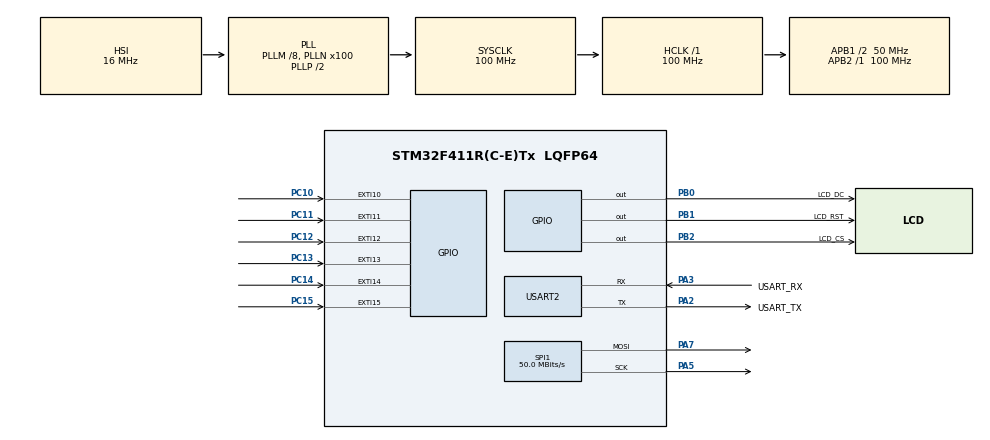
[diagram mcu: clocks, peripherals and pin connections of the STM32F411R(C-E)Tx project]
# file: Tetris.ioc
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Dma.Request0=SPI1_TX
Dma.SPI1_TX.0.Direction=DMA_MEMORY_TO_PERIPH
Dma.SPI1_TX.0.FIFOMode=DMA_FIFOMODE_DISABLE
Dma.SPI1_TX.0.Instance=DMA2_Stream2
Dma.SPI1_TX.0.MemDataAlignment=DMA_MDATAALIGN_BYTE
Dma.SPI1_TX.0.MemInc=DMA_MINC_ENABLE
Dma.SPI1_TX.0.Mode=DMA_NORMAL
Dma.SPI1_TX.0.PeriphDataAlignment=DMA_PDATAALIGN_BYTE
Dma.SPI1_TX.0.PeriphInc=DMA_PINC_DISABLE
Dma.SPI1_TX.0.Priority=DMA_PRIORITY_LOW
Mcu.Family=STM32F4
Mcu.Name=STM32F411R(C-E)Tx
Mcu.Package=LQFP64
NVIC.DMA2_Stream2_IRQn=true\:0\:0\:false\:false\:true\:false\:true\:true
NVIC.EXTI15_10_IRQn=true\:0\:0\:false\:false\:true\:true\:true\:true
NVIC.PriorityGroup=NVIC_PRIORITYGROUP_0
NVIC.TIM1_UP_TIM10_IRQn=true\:0\:5\:true\:false\:true\:true\:true\:true
PA13.GPIO_Label=TMS
PA13.Mode=Serial_Wire
PA13.Signal=SYS_JTMS-SWDIO
PA14.GPIO_Label=TCK
PA14.Mode=Serial_Wire
PA14.Signal=SYS_JTCK-SWCLK
PA2.GPIO_Label=USART_TX
PA2.Mode=Asynchronous
PA2.Signal=USART2_TX
PA3.GPIO_Label=USART_RX
PA3.Mode=Asynchronous
PA3.Signal=USART2_RX
PA5.Mode=TX_Only_Simplex_Unidirect_Master
PA5.Signal=SPI1_SCK
PA7.Mode=TX_Only_Simplex_Unidirect_Master
PA7.Signal=SPI1_MOSI
PB0.GPIO_Label=LCD_DC
PB0.GPIO_PuPd=GPIO_PULLUP
PB0.GPIO_Speed=GPIO_SPEED_FREQ_VERY_HIGH
PB0.PinState=GPIO_PIN_SET
PB0.Signal=GPIO_Output
PB1.GPIO_Label=LCD_RST
PB1.GPIO_PuPd=GPIO_PULLUP
PB1.GPIO_Speed=GPIO_SPEED_FREQ_VERY_HIGH
PB1.PinState=GPIO_PIN_SET
PB1.Signal=GPIO_Output
PB2.GPIO_Label=LCD_CS
PB2.GPIO_PuPd=GPIO_PULLUP
PB2.GPIO_Speed=GPIO_SPEED_FREQ_VERY_HIGH
PB2.PinState=GPIO_PIN_SET
PB2.Signal=GPIO_Output
PC10.GPIO_ModeDefaultEXTI=GPIO_MODE_IT_RISING_FALLING
PC10.Signal=GPXTI10
PC11.GPIO_ModeDefaultEXTI=GPIO_MODE_IT_RISING_FALLING
PC11.Signal=GPXTI11
PC12.GPIO_ModeDefaultEXTI=GPIO_MODE_IT_RISING_FALLING
PC12.Signal=GPXTI12
PC13-ANTI_TAMP.GPIO_ModeDefaultEXTI=GPIO_MODE_IT_RISING_FALLING
PC13-ANTI_TAMP.Signal=GPXTI13
PC14-OSC32_IN.GPIO_ModeDefaultEXTI=GPIO_MODE_IT_RISING_FALLING
PC14-OSC32_IN.Signal=GPXTI14
PC15-OSC32_OUT.GPIO_ModeDefaultEXTI=GPIO_MODE_IT_RISING_FALLING
PC15-OSC32_OUT.Signal=GPXTI15
PH0\ -\ OSC_IN.Mode=HSE-External-Clock-Source
PH0\ -\ OSC_IN.Signal=RCC_OSC_IN
PH1\ -\ OSC_OUT.Mode=HSE-External-Clock-Source
PH1\ -\ OSC_OUT.Signal=RCC_OSC_OUT
ProjectManager.HeapSize=0x200
ProjectManager.StackSize=0x400
ProjectManager.TargetToolchain=STM32CubeIDE
RCC.48MHZClocksFreq_Value=50000000
RCC.AHBFreq_Value=100000000
RCC.APB1CLKDivider=RCC_HCLK_DIV2
RCC.APB1Freq_Value=50000000
RCC.APB1TimFreq_Value=100000000
RCC.APB2Freq_Value=100000000
RCC.APB2TimFreq_Value=100000000
RCC.CortexFreq_Value=100000000
RCC.FLatency-AdvancedSettings=FLASH_LATENCY_3
RCC.HCLKFreq_Value=100000000
RCC.HSE_VALUE=8000000
RCC.HSI_VALUE=16000000
RCC.LSE_VALUE=32768
RCC.PLLM=8
RCC.PLLN=100
RCC.SYSCLKFreq_VALUE=100000000
RCC.SYSCLKSource=RCC_SYSCLKSOURCE_PLLCLK
RCC.VCOOutputFreq_Value=200000000
SPI1.CalculateBaudRate=50.0 MBits/s
SPI1.Direction=SPI_DIRECTION_2LINES
SPI1.Mode=SPI_MODE_MASTER
SPI1.VirtualType=VM_MASTER
TIM1.Period=99
TIM1.Prescaler=9999
USART2.VirtualMode=VM_ASYNC
VP_TIM1_VS_ClockSourceINT.Mode=Internal
board=NUCLEO-F411RE

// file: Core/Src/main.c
/* USER CODE BEGIN Header */
/**
  ******************************************************************************
  * @file           : main.c
  * @brief          : Main program body
  ******************************************************************************
  * @attention
  *
  * Copyright (c) 2025 STMicroelectronics.
  * All rights reserved.
  *
  * This software is licensed under terms that can be found in the LICENSE file
  * in the root directory of this software component.
  * If no LICENSE file comes with this software, it is provided AS-IS.
  *
  ******************************************************************************
  */
/* USER CODE END Header */
#include "main.h"

/* USER CODE BEGIN Includes */
#include "lcd.h"
/* USER CODE END Includes */

/* USER CODE BEGIN PD */
#define RAW_UP     (HAL_GPIO_ReadPin(GPIOC, GPIO_PIN_10) == GPIO_PIN_SET)
#define RAW_DOWN   (HAL_GPIO_ReadPin(GPIOC, GPIO_PIN_11) == GPIO_PIN_SET)
#define RAW_LEFT   (HAL_GPIO_ReadPin(GPIOC, GPIO_PIN_12) == GPIO_PIN_SET)
#define RAW_RIGHT  (HAL_GPIO_ReadPin(GPIOC, GPIO_PIN_13) == GPIO_PIN_SET)
#define RAW_A      (HAL_GPIO_ReadPin(GPIOC, GPIO_PIN_14) == GPIO_PIN_SET)
#define RAW_B      (HAL_GPIO_ReadPin(GPIOC, GPIO_PIN_15) == GPIO_PIN_SET)

#define DEBOUNCE_MS 20

#define BLOCK_SIZE   12
#define BOARD_COLS   10
#define BOARD_ROWS   20
#define BORDER 2

#define BOARD_WIDTH  (BLOCK_SIZE * BOARD_COLS)   // 120
#define BOARD_HEIGHT (BLOCK_SIZE * BOARD_ROWS)   // 240

#define BOARD_X      20    // left margin
#define BOARD_Y      40    // top margin

//TETRIS MENU TEXT
#define LOGO_BLOCK 6
#define LETTER_W 5
#define LETTER_H 5

#define COLOR_TEXT   0xFFFF   // white
#define COLOR_BG     0x0000   // black
#define COLOR_GRID   0x7BEF   // gray
#define COLOR_BORDER 0xFFFF   // white

#define GRAVITY_MS     800  // normal fall
#define SOFTDROP_MS    50   // soft drop speed
#define DAS_DELAY_MS  170   // initial delay
#define ARR_MS         40   // repeat speed
#define LOCK_DELAY_MS 500
#define LOCK_RESET_LIMIT   15

#define PREVIEW_X   (BOARD_X + BOARD_WIDTH + 12)
#define PREVIEW_Y   (BOARD_Y + 12)
#define PREVIEW_BLOCK  12
#define PREVIEW_BOARD_ROW   1
#define PREVIEW_BOARD_COL   (BOARD_COLS + 1)

#define UI_X   (BOARD_X + BOARD_WIDTH + 10)
#define UI_Y   (BOARD_Y + 80)
/* USER CODE END PD */

SPI_HandleTypeDef hspi1;
DMA_HandleTypeDef hdma_spi1_tx;

TIM_HandleTypeDef htim1;

UART_HandleTypeDef huart2;

/* USER CODE BEGIN PV */
typedef struct {
    uint8_t state;        // debounced state (0/1)
    uint8_t pressed;       // 0->1
    uint8_t released;      // 1->0
    uint32_t last_change_ms;
} Button_t;
Button_t btn_up, btn_down, btn_left, btn_right, btn_a, btn_b;
volatile uint8_t btn_changed;

typedef enum {
    STATE_MENU,
    STATE_PLAY,
    STATE_GAMEOVER
} GameState;

GameState gameState = STATE_MENU;

uint8_t menuLevel = 0;
uint8_t uiDrawn = 0;

typedef enum {
    PIECE_I = 0,
    PIECE_O,
    PIECE_T,
    PIECE_S,
    PIECE_Z,
    PIECE_J,
    PIECE_L,
    PIECE_COUNT
} TetrisPiece;

const uint16_t PIECE_COLOR[PIECE_COUNT] = {
	0x04FF, // I - soft cyan
	0xFD20, // O - warm yellow
	0xC81F, // T - purple
	0x05E0, // S - green
	0xF280, // Z - orange-red
	0x0016, // J - deep blue
	0xD800  // L - red
};

const uint8_t TETROMINO[PIECE_COUNT][4][4][4] =
{
/* ================= I ================= */
{
    {
        {0,0,0,0},
        {1,1,1,1},
        {0,0,0,0},
        {0,0,0,0}
    },
    {
        {0,0,1,0},
        {0,0,1,0},
        {0,0,1,0},
        {0,0,1,0}
    },
    {
        {0,0,0,0},
        {0,0,0,0},
        {1,1,1,1},
        {0,0,0,0}
    },
    {
        {0,1,0,0},
        {0,1,0,0},
        {0,1,0,0},
        {0,1,0,0}
    }
},

/* ================= O ================= */
{
    {
        {0,1,1,0},
        {0,1,1,0},
        {0,0,0,0},
        {0,0,0,0}
    },
    {
        {0,1,1,0},
        {0,1,1,0},
        {0,0,0,0},
        {0,0,0,0}
    },
    {
        {0,1,1,0},
        {0,1,1,0},
        {0,0,0,0},
        {0,0,0,0}
    },
    {
        {0,1,1,0},
        {0,1,1,0},
        {0,0,0,0},
        {0,0,0,0}
    }
},

/* ================= T ================= */
{
    {
        {0,1,0,0},
        {1,1,1,0},
        {0,0,0,0},
        {0,0,0,0}
    },
    {
        {0,1,0,0},
        {0,1,1,0},
        {0,1,0,0},
        {0,0,0,0}
    },
    {
        {0,0,0,0},
        {1,1,1,0},
        {0,1,0,0},
        {0,0,0,0}
    },
    {
        {0,1,0,0},
        {1,1,0,0},
        {0,1,0,0},
        {0,0,0,0}
    }
},

/* ================= S ================= */
{
    {
        {0,1,1,0},
        {1,1,0,0},
        {0,0,0,0},
        {0,0,0,0}
    },
    {
        {0,1,0,0},
        {0,1,1,0},
        {0,0,1,0},
        {0,0,0,0}
    },
    {
        {0,0,0,0},
        {0,1,1,0},
        {1,1,0,0},
        {0,0,0,0}
    },
    {
        {1,0,0,0},
        {1,1,0,0},
        {0,1,0,0},
        {0,0,0,0}
    }
},

/* ================= Z ================= */
{
    {
        {1,1,0,0},
        {0,1,1,0},
        {0,0,0,0},
        {0,0,0,0}
    },
    {
        {0,0,1,0},
        {0,1,1,0},
        {0,1,0,0},
        {0,0,0,0}
    },
    {
        {0,0,0,0},
        {1,1,0,0},
        {0,1,1,0},
        {0,0,0,0}
    },
    {
        {0,1,0,0},
        {1,1,0,0},
        {1,0,0,0},
        {0,0,0,0}
    }
},

/* ================= J ================= */
{
    {
        {1,0,0,0},
        {1,1,1,0},
        {0,0,0,0},
        {0,0,0,0}
    },
    {
        {0,1,1,0},
        {0,1,0,0},
        {0,1,0,0},
        {0,0,0,0}
    },
    {
        {0,0,0,0},
        {1,1,1,0},
        {0,0,1,0},
        {0,0,0,0}
    },
    {
        {0,1,0,0},
        {0,1,0,0},
        {1,1,0,0},
        {0,0,0,0}
    }
},

/* ================= L ================= */
{
    {
        {0,0,1,0},
        {1,1,1,0},
        {0,0,0,0},
        {0,0,0,0}
    },
    {
        {0,1,0,0},
        {0,1,0,0},
        {0,1,1,0},
        {0,0,0,0}
    },
    {
        {0,0,0,0},
        {1,1,1,0},
        {1,0,0,0},
        {0,0,0,0}
    },
    {
        {1,1,0,0},
        {0,1,0,0},
        {0,1,0,0},
        {0,0,0,0}
    }
}
};

const uint8_t TETRIS_FONT[][LETTER_H] = {
    // T
    {
        0b11111,
        0b00100,
        0b00100,
        0b00100,
        0b00100
    },
    // E
    {
        0b11111,
        0b10000,
        0b11110,
        0b10000,
        0b11111
    },
    // T
    {
        0b11111,
        0b00100,
        0b00100,
        0b00100,
        0b00100
    },
    // R
    {
        0b11110,
        0b10001,
        0b11110,
        0b10100,
        0b10010
    },
    // I
    {
        0b11111,
        0b00100,
        0b00100,
        0b00100,
        0b11111
    },
    // S
    {
        0b01111,
        0b10000,
        0b01110,
        0b00001,
        0b11110
    }
};

const uint8_t SPAWN_ROT[PIECE_COUNT] = {
    0, // I
    0, // O
    2, // T
    0, // S
    0, // Z
    2, // J
    2  // L
};

volatile uint32_t gameTick = 0;

typedef struct {
    int8_t row;
    int8_t col;
    uint8_t type;       // 0..PIECE_COUNT-1
    uint8_t rotation;   // 0..3
    uint16_t color;
} ActivePiece_t;
ActivePiece_t active;

uint16_t board[BOARD_ROWS][BOARD_COLS];

static uint32_t lockStart = 0;
static uint8_t  lockResets = 0;

uint8_t pieceBag[PIECE_COUNT];
uint8_t bagIndex = 0;
uint8_t nextPiece;

const uint16_t LINE_SCORE[5] = {
    0,      // 0
    100,    // 1
    300,    // 2
    500,    // 3
    800     // 4
};

uint32_t score = 0;
uint32_t softdrop_score = 0;
uint16_t level = 0;
uint16_t totalLines = 0;
uint32_t gravity_ms = 800;
uint32_t softdrop_ms = 50;

static uint32_t lastScore = 0xFFFFFFFF;
static uint16_t lastLines = 0xFFFF;
static uint16_t lastLevel = 0xFFFF;
/* USER CODE END PV */

void SystemClock_Config(void);
static void MX_GPIO_Init(void);
static void MX_DMA_Init(void);
static void MX_USART2_UART_Init(void);
static void MX_SPI1_Init(void);
static void MX_TIM1_Init(void);
/* USER CODE BEGIN PFP */
void DrawButtonTestUI(void);
uint8_t DebounceButton(Button_t *btn, uint8_t raw);
void UpdateButtons(void);
void UpdateButtonUI(void);

void StartGame();
void DrawLogoBlock(int x, int y, int size, uint16_t color);
void DrawTetrisLogo(int startX, int startY);
void DrawMenu(void);
void MenuInput(void);
void DrawGameOver(void);

void GameTick_Update(void);
void HandlePieceInput(void);

uint16_t ColorLight(uint16_t c);
uint16_t ColorDark(uint16_t c);
void DrawBlock(uint8_t row, uint8_t col, uint16_t color);
void DrawBlock3D(uint8_t row, uint8_t col, uint16_t color);
void ClearBlock(uint8_t row, uint8_t col);
void DrawBoard(void);
void DrawPiece(TetrisPiece piece, uint8_t rotation, int8_t boardRow,
		int8_t boardCol, uint16_t color);
void TestPieces(void);

int8_t GetSpawnOffsetY(uint8_t type, uint8_t rotation);
uint8_t SpawnPiece(void);
void DrawActivePiece(uint16_t color);
void ClearActivePiece(void);
void MoveLeft(void);
void MoveRight(void);
uint8_t MoveDown(void);
void RotatePieceCW(void);
void RotatePieceCCW(void);

uint8_t CheckCollision(int8_t row, int8_t col, uint8_t rotation);
uint8_t IsGrounded(void);
uint8_t IsGroundedAt(int8_t row, int8_t col, uint8_t rotation);
void LockPiece(void);
void ResetLockDelay(void);
void ClearLockDelay(void);

uint8_t ClearLines(void);
void RemoveLine(int row);
void RedrawBoardFromArray(void);

void ShuffleBag(void);
uint8_t GetNextPiece(void);
void DrawNextPiecePreview(void);

void AddScore(uint8_t lines);
void UpdateLevel(void);
void UpdateGravity(void);

void DrawHUD(void);
void UpdateHUD(void);
/* USER CODE END PFP */

int main(void)
{

  /* USER CODE BEGIN 1 */
	CoreDebug->DEMCR |= CoreDebug_DEMCR_TRCENA_Msk; // Enable DWT
	DWT->CYCCNT = 0;                                // Clear counter
	DWT->CTRL = DWT_CTRL_CYCCNTENA_Msk;             // Enable counter
  /* USER CODE END 1 */

  /* MCU Configuration--------------------------------------------------------*/

  /* Reset of all peripherals, Initializes the Flash interface and the Systick. */
  HAL_Init();

  /* Configure the system clock */
  SystemClock_Config();

  /* Initialize all configured peripherals */
  MX_GPIO_Init();
  MX_DMA_Init();
  MX_USART2_UART_Init();
  MX_SPI1_Init();
  MX_TIM1_Init();
  /* USER CODE BEGIN 2 */
//  HAL_TIM_Base_Start_IT(&htim1);

  LCD_init();

  memset(board, 0, sizeof(board));

  LCD_Fill(0, 0, LCD_WIDTH - 1, LCD_HEIGHT - 1, COLOR_BG);
//  DrawButtonTestUI();
	for (int r = 0; r < BOARD_ROWS; r++) {
		for (int c = 0; c < BOARD_COLS; c++) {
			board[r][c] = 0;
		}
	}

	ResetLockDelay();

	srand(HAL_GetTick());
	ShuffleBag();

	DrawBoard();
	nextPiece = GetNextPiece();
	SpawnPiece();
	DrawActivePiece(active.color);
  /* USER CODE END 2 */

  /* Infinite loop */
  /* USER CODE BEGIN WHILE */
  while (1)
  {
//	  LCD_Test();
//	  LCD_Fill(0, 0, LCD_WIDTH-1, LCD_HEIGHT-1, 0xF800); // RED
//	  HAL_Delay(800);
//
//	  LCD_Fill(0, 0, LCD_WIDTH-1, LCD_HEIGHT-1, 0x07E0); // GREEN
//	  HAL_Delay(800);
//
//	  LCD_Fill(0, 0, LCD_WIDTH-1, LCD_HEIGHT-1, 0x001F); // BLUE
//	  HAL_Delay(800);
//	  LCD_Fill(0, 0, 239, 319, COLOR_BG);
//	  TestPieces();
//		if (btn_changed) {
//			btn_changed = 0;
//			UpdateButtons();
//			UpdateButtonUI();
//		}
//	  GameTick_Update();

		switch (gameState) {

		case STATE_MENU:
			if (!uiDrawn) {
				DrawMenu();
				uiDrawn = 1;
			}
			MenuInput();
			UpdateButtons();
			if (btn_a.pressed) {
				StartGame();
				uiDrawn = 0;
				gameState = STATE_PLAY;
			}
			break;

		case STATE_PLAY:
			GameTick_Update();
			UpdateHUD();
			break;

		case STATE_GAMEOVER:
			if (!uiDrawn) {
				DrawGameOver();
				uiDrawn = 1;
			}
			UpdateButtons();
			if (btn_a.pressed) {
				uiDrawn = 0;
				gameState = STATE_MENU;
			}
			break;
		}
    /* USER CODE END WHILE */

  }
}

void SystemClock_Config(void)
{
  RCC_OscInitTypeDef RCC_OscInitStruct = {0};
  RCC_ClkInitTypeDef RCC_ClkInitStruct = {0};

  /** Configure the main internal regulator output voltage
  */
  __HAL_RCC_PWR_CLK_ENABLE();
  __HAL_PWR_VOLTAGESCALING_CONFIG(PWR_REGULATOR_VOLTAGE_SCALE1);

  /** Initializes the RCC Oscillators according to the specified parameters
  * in the RCC_OscInitTypeDef structure.
  */
  RCC_OscInitStruct.OscillatorType = RCC_OSCILLATORTYPE_HSI;
  RCC_OscInitStruct.HSIState = RCC_HSI_ON;
  RCC_OscInitStruct.HSICalibrationValue = RCC_HSICALIBRATION_DEFAULT;
  RCC_OscInitStruct.PLL.PLLState = RCC_PLL_ON;
  RCC_OscInitStruct.PLL.PLLSource = RCC_PLLSOURCE_HSI;
  RCC_OscInitStruct.PLL.PLLM = 8;
  RCC_OscInitStruct.PLL.PLLN = 100;
  RCC_OscInitStruct.PLL.PLLP = RCC_PLLP_DIV2;
  RCC_OscInitStruct.PLL.PLLQ = 4;
  if (HAL_RCC_OscConfig(&RCC_OscInitStruct) != HAL_OK)
  {
    Error_Handler();
  }

  /** Initializes the CPU, AHB and APB buses clocks
  */
  RCC_ClkInitStruct.ClockType = RCC_CLOCKTYPE_HCLK|RCC_CLOCKTYPE_SYSCLK
                              |RCC_CLOCKTYPE_PCLK1|RCC_CLOCKTYPE_PCLK2;
  RCC_ClkInitStruct.SYSCLKSource = RCC_SYSCLKSOURCE_PLLCLK;
  RCC_ClkInitStruct.AHBCLKDivider = RCC_SYSCLK_DIV1;
  RCC_ClkInitStruct.APB1CLKDivider = RCC_HCLK_DIV2;
  RCC_ClkInitStruct.APB2CLKDivider = RCC_HCLK_DIV1;

  if (HAL_RCC_ClockConfig(&RCC_ClkInitStruct, FLASH_LATENCY_3) != HAL_OK)
  {
    Error_Handler();
  }
}

static void MX_SPI1_Init(void)
{

  /* SPI1 parameter configuration*/
  hspi1.Instance = SPI1;
  hspi1.Init.Mode = SPI_MODE_MASTER;
  hspi1.Init.Direction = SPI_DIRECTION_2LINES;
  hspi1.Init.DataSize = SPI_DATASIZE_8BIT;
  hspi1.Init.CLKPolarity = SPI_POLARITY_LOW;
  hspi1.Init.CLKPhase = SPI_PHASE_1EDGE;
  hspi1.Init.NSS = SPI_NSS_SOFT;
  hspi1.Init.BaudRatePrescaler = SPI_BAUDRATEPRESCALER_2;
  hspi1.Init.FirstBit = SPI_FIRSTBIT_MSB;
  hspi1.Init.TIMode = SPI_TIMODE_DISABLE;
  hspi1.Init.CRCCalculation = SPI_CRCCALCULATION_DISABLE;
  hspi1.Init.CRCPolynomial = 10;
  if (HAL_SPI_Init(&hspi1) != HAL_OK)
  {
    Error_Handler();
  }

}

static void MX_TIM1_Init(void)
{

  TIM_ClockConfigTypeDef sClockSourceConfig = {0};
  TIM_MasterConfigTypeDef sMasterConfig = {0};

  htim1.Instance = TIM1;
  htim1.Init.Prescaler = 9999;
  htim1.Init.CounterMode = TIM_COUNTERMODE_UP;
  htim1.Init.Period = 99;
  htim1.Init.ClockDivision = TIM_CLOCKDIVISION_DIV1;
  htim1.Init.RepetitionCounter = 0;
  htim1.Init.AutoReloadPreload = TIM_AUTORELOAD_PRELOAD_DISABLE;
  if (HAL_TIM_Base_Init(&htim1) != HAL_OK)
  {
    Error_Handler();
  }
  sClockSourceConfig.ClockSource = TIM_CLOCKSOURCE_INTERNAL;
  if (HAL_TIM_ConfigClockSource(&htim1, &sClockSourceConfig) != HAL_OK)
  {
    Error_Handler();
  }
  sMasterConfig.MasterOutputTrigger = TIM_TRGO_RESET;
  sMasterConfig.MasterSlaveMode = TIM_MASTERSLAVEMODE_DISABLE;
  if (HAL_TIMEx_MasterConfigSynchronization(&htim1, &sMasterConfig) != HAL_OK)
  {
    Error_Handler();
  }

}

static void MX_USART2_UART_Init(void)
{

  huart2.Instance = USART2;
  huart2.Init.BaudRate = 115200;
  huart2.Init.WordLength = UART_WORDLENGTH_8B;
  huart2.Init.StopBits = UART_STOPBITS_1;
  huart2.Init.Parity = UART_PARITY_NONE;
  huart2.Init.Mode = UART_MODE_TX_RX;
  huart2.Init.HwFlowCtl = UART_HWCONTROL_NONE;
  huart2.Init.OverSampling = UART_OVERSAMPLING_16;
  if (HAL_UART_Init(&huart2) != HAL_OK)
  {
    Error_Handler();
  }

}

static void MX_DMA_Init(void)
{

  /* DMA controller clock enable */
  __HAL_RCC_DMA2_CLK_ENABLE();

  /* DMA interrupt init */
  /* DMA2_Stream2_IRQn interrupt configuration */
  HAL_NVIC_SetPriority(DMA2_Stream2_IRQn, 0, 0);
  HAL_NVIC_EnableIRQ(DMA2_Stream2_IRQn);

}

static void MX_GPIO_Init(void)
{
  GPIO_InitTypeDef GPIO_InitStruct = {0};

  /* GPIO Ports Clock Enable */
  __HAL_RCC_GPIOC_CLK_ENABLE();
  __HAL_RCC_GPIOH_CLK_ENABLE();
  __HAL_RCC_GPIOA_CLK_ENABLE();
  __HAL_RCC_GPIOB_CLK_ENABLE();

  /*Configure GPIO pin Output Level */
  HAL_GPIO_WritePin(GPIOB, LCD_DC_Pin|LCD_RST_Pin|LCD_CS_Pin, GPIO_PIN_SET);

  /*Configure GPIO pins : PC13 PC14 PC15 PC10
                           PC11 PC12 */
  GPIO_InitStruct.Pin = GPIO_PIN_13|GPIO_PIN_14|GPIO_PIN_15|GPIO_PIN_10
                          |GPIO_PIN_11|GPIO_PIN_12;
  GPIO_InitStruct.Mode = GPIO_MODE_IT_RISING_FALLING;
  GPIO_InitStruct.Pull = GPIO_NOPULL;
  HAL_GPIO_Init(GPIOC, &GPIO_InitStruct);

  /*Configure GPIO pins : LCD_DC_Pin LCD_RST_Pin LCD_CS_Pin */
  GPIO_InitStruct.Pin = LCD_DC_Pin|LCD_RST_Pin|LCD_CS_Pin;
  GPIO_InitStruct.Mode = GPIO_MODE_OUTPUT_PP;
  GPIO_InitStruct.Pull = GPIO_PULLUP;
  GPIO_InitStruct.Speed = GPIO_SPEED_FREQ_VERY_HIGH;
  HAL_GPIO_Init(GPIOB, &GPIO_InitStruct);

  /* EXTI interrupt init*/
  HAL_NVIC_SetPriority(EXTI15_10_IRQn, 0, 0);
  HAL_NVIC_EnableIRQ(EXTI15_10_IRQn);

}

/* USER CODE BEGIN 4 */
void HAL_GPIO_EXTI_Callback(uint16_t GPIO_Pin)
{
    if (GPIO_Pin >= GPIO_PIN_10 && GPIO_Pin <= GPIO_PIN_15)
    {
        btn_changed = 1;
    }
}

uint8_t DebounceButton(Button_t *btn, uint8_t raw)
{
    uint32_t now = HAL_GetTick();

    btn->pressed  = 0;
    btn->released = 0;

    if (raw != btn->state)
    {
        if ((now - btn->last_change_ms) >= DEBOUNCE_MS)
        {
            btn->last_change_ms = now;

            if (raw)
                btn->pressed = 1;
            else
                btn->released = 1;

            btn->state = raw;
            return 1;
        }
    }
    else
    {
        btn->last_change_ms = now;
    }

    return 0;
}
void UpdateButtons(void)
{
	DebounceButton(&btn_up, RAW_UP);
	DebounceButton(&btn_down, RAW_DOWN);
	DebounceButton(&btn_left, RAW_LEFT);
	DebounceButton(&btn_right, RAW_RIGHT);
	DebounceButton(&btn_a, RAW_A);
	DebounceButton(&btn_b, RAW_B);
}

void DrawButtonTestUI(void)
{
    LCD_Fill(0, 0, 239, 319, 0x0000); // black background

    // D-pad
    LCD_Fill(80,  40, 160, 100, 0x7BEF); // UP
    LCD_Fill(80, 140, 160, 200, 0x7BEF); // DOWN
    LCD_Fill(20,  90,  80, 150, 0x7BEF); // LEFT
    LCD_Fill(160, 90, 220, 150, 0x7BEF); // RIGHT

    // A / B
    LCD_Fill(40,  240, 100, 300, 0x7BEF); // A
    LCD_Fill(140, 240, 200, 300, 0x7BEF); // B
}
void UpdateButtonUI(void)
{
    static uint8_t u,d,l,r,a,b;

	uint8_t nu = btn_up.state;
	uint8_t nd = btn_down.state;
	uint8_t nl = btn_left.state;
	uint8_t nr = btn_right.state;
	uint8_t na = btn_a.state;
	uint8_t nb = btn_b.state;

    if (nu != u) {
        LCD_Fill(80, 40, 160, 100, nu ? 0x07E0 : 0x7BEF);
        u = nu;
    }

    if (nd != d) {
        LCD_Fill(80, 140, 160, 200, nd ? 0xF800 : 0x7BEF);
        d = nd;
    }

    if (nl != l) {
        LCD_Fill(20, 90, 80, 150, nl ? 0x001F : 0x7BEF);
        l = nl;
    }

    if (nr != r) {
        LCD_Fill(160, 90, 220, 150, nr ? 0xFFE0 : 0x7BEF);
        r = nr;
    }

    if (na != a) {
        LCD_Fill(40, 240, 100, 300, na ? 0xF81F : 0x7BEF);
        a = na;
    }

    if (nb != b) {
        LCD_Fill(140, 240, 200, 300, nb ? 0x07FF : 0x7BEF);
        b = nb;
    }
}

void StartGame(void)
{
	LCD_Fill(0, 0, LCD_WIDTH - 1, LCD_HEIGHT - 1, COLOR_BG);
	for (int r = 0; r < BOARD_ROWS; r++) {
		for (int c = 0; c < BOARD_COLS; c++) {
			board[r][c] = 0;
		}
	}

	gravity_ms = 800;
	softdrop_ms = 50;

	score = 0;
	totalLines = 0;
	level = menuLevel;

    UpdateGravity();

	lastScore = 0xFFFFFFFF;
	lastLines = 0xFFFF;
	lastLevel = 0xFFFF;

	ResetLockDelay();

	srand(HAL_GetTick());
	ShuffleBag();

	DrawBoard();
	DrawHUD();
	UpdateHUD();

	nextPiece = GetNextPiece();
	SpawnPiece();
	DrawActivePiece(active.color);
}
void DrawLogoBlock(int x, int y, int size, uint16_t color)
{
    uint16_t light = ColorLight(color);
    uint16_t dark  = ColorDark(color);
    uint8_t b = size / 5;

    LCD_Fill(x + b, y + b,
             x + size - b - 1,
             y + size - b - 1,
             color);

    LCD_Fill(x, y, x + size - 1, y + b - 1, light);

    LCD_Fill(x, y, x + b - 1, y + size - 1, light);

    LCD_Fill(x, y + size - b,
             x + size - 1, y + size - 1, dark);

    LCD_Fill(x + size - b, y,
             x + size - 1, y + size - 1, dark);
}
void DrawTetrisLogo(int startX, int startY)
{
    const uint16_t logoColors[6] = {
        0xF800, // Red
        0xFC00, // Orange
        0xFFE0, // Yellow
        0x07E0, // Green
        0x001F, // Blue
        0x780F  // Purple
    };

    for (int letter = 0; letter < 6; letter++) {

        uint16_t color = logoColors[letter];

        for (int r = 0; r < LETTER_H; r++) {
            for (int c = 0; c < LETTER_W; c++) {

                if (TETRIS_FONT[letter][r] & (1 << (LETTER_W - 1 - c))) {

                    DrawLogoBlock(
                        startX + (letter * (LETTER_W + 1) + c) * LOGO_BLOCK,
                        startY + r * LOGO_BLOCK,
                        LOGO_BLOCK,
                        color
                    );
                }
            }
        }
    }
}
void DrawMenu(void)
{
    char buf[20];

    LCD_Fill(0, 0, LCD_WIDTH - 1, LCD_HEIGHT - 1, COLOR_BG);

    DrawTetrisLogo(10, 50);

    LCD_PutStr(20, 120, "PRESS A TO START", &FONT_8X12, COLOR_TEXT, COLOR_BG);

    sprintf(buf, "START LEVEL: %d", menuLevel);
    LCD_PutStr(20, 160, buf, &FONT_8X12, COLOR_TEXT, COLOR_BG);

    LCD_PutStr(20, 185, "<  > CHANGE LEVEL", &FONT_8X12, COLOR_TEXT, COLOR_BG);
}
void MenuInput(void)
{
    if (btn_left.pressed) {
        if (menuLevel > 0) {
            menuLevel--;
            DrawMenu();
        }
    }

    if (btn_right.pressed) {
        if (menuLevel < 10) {
            menuLevel++;
            DrawMenu();
        }
    }
}
void DrawGameOver(void)
{
    char buf[32];

    LCD_Fill(0, 0, LCD_WIDTH - 1, LCD_HEIGHT - 1, COLOR_BG);

    LCD_PutStr(20, 60, "GAME OVER", &FONT_16X26, COLOR_TEXT, COLOR_BG);

    sprintf(buf, "SCORE : %lu", score);
    LCD_PutStr(30, 120, buf, &FONT_12X20, COLOR_TEXT, COLOR_BG);

    sprintf(buf, "LINES : %u", totalLines);
    LCD_PutStr(30, 150, buf, &FONT_12X20, COLOR_TEXT, COLOR_BG);

    sprintf(buf, "LEVEL : %u", level);
    LCD_PutStr(30, 180, buf, &FONT_12X20, COLOR_TEXT, COLOR_BG);

    LCD_PutStr(10, 230, "PRESS A TO MENU", &FONT_8X12, COLOR_TEXT, COLOR_BG);
}
uint16_t ColorLight(uint16_t c)
{
    uint16_t r = (c >> 11) & 0x1F;
    uint16_t g = (c >> 5)  & 0x3F;
    uint16_t b = c & 0x1F;

    r = (r * 5 + 31) / 6;
    g = (g * 5 + 63) / 6;
    b = (b * 5 + 31) / 6;

    return (r << 11) | (g << 5) | b;
}
uint16_t ColorDark(uint16_t c)
{
    uint16_t r = (c >> 11) & 0x1F;
    uint16_t g = (c >> 5)  & 0x3F;
    uint16_t b = c & 0x1F;

    r = (r * 2) / 3;
    g = (g * 2) / 3;
    b = (b * 2) / 3;

    return (r << 11) | (g << 5) | b;
}
void DrawBlock(uint8_t row, uint8_t col, uint16_t color)
{
    uint16_t x = BOARD_X + col * BLOCK_SIZE;
    uint16_t y = BOARD_Y + row * BLOCK_SIZE;

    LCD_Fill(
        x,
        y,
        x + BLOCK_SIZE - 1,
        y + BLOCK_SIZE - 1,
        color
    );
}
void DrawBlock3D(uint8_t row, uint8_t col, uint16_t color)
{
    int x = BOARD_X + col * BLOCK_SIZE;
    int y = BOARD_Y + row * BLOCK_SIZE;

    uint16_t light = ColorLight(color);
    uint16_t dark  = ColorDark(color);

    // Center
    LCD_Fill(x + BORDER, y + BORDER,
             x + BLOCK_SIZE - BORDER - 1,
             y + BLOCK_SIZE - BORDER - 1,
             color);

    // Top highlight
    LCD_Fill(x, y,
             x + BLOCK_SIZE - 1, y + BORDER - 1,
             light);

    // Left highlight
    LCD_Fill(x, y,
             x + BORDER - 1, y + BLOCK_SIZE - 1,
             light);

    // Bottom shadow
    LCD_Fill(x, y + BLOCK_SIZE - BORDER,
             x + BLOCK_SIZE - 1, y + BLOCK_SIZE - 1,
             dark);

    // Right shadow
    LCD_Fill(x + BLOCK_SIZE - BORDER, y,
             x + BLOCK_SIZE - 1, y + BLOCK_SIZE - 1,
             dark);
}
void ClearBlock(uint8_t row, uint8_t col)
{
    int x = BOARD_X + col * BLOCK_SIZE;
    int y = BOARD_Y + row * BLOCK_SIZE;

    LCD_Fill(x, y,
             x + BLOCK_SIZE - 1,
             y + BLOCK_SIZE - 1,
             COLOR_BG);
}

void DrawBoard(void)
{
    // BG
    LCD_Fill(
        BOARD_X,
        BOARD_Y,
        BOARD_X + BOARD_WIDTH - 1,
        BOARD_Y + BOARD_HEIGHT - 1,
        COLOR_BG
    );

//    // Vertical grid lines
//    for (int c = 0; c <= BOARD_COLS; c++)
//    {
//        uint16_t x = BOARD_X + c * BLOCK_SIZE;
//        LCD_DrawLine(
//            x,
//            BOARD_Y,
//            x,
//            BOARD_Y + BOARD_HEIGHT,
//            COLOR_GRID
//        );
//    }
//
//    // Horizontal grid lines
//    for (int r = 0; r <= BOARD_ROWS; r++)
//    {
//        uint16_t y = BOARD_Y + r * BLOCK_SIZE;
//        LCD_DrawLine(
//            BOARD_X,
//            y,
//            BOARD_X + BOARD_WIDTH,
//            y,
//            COLOR_GRID
//        );
//    }

    // Outer border
    LCD_DrawLine(BOARD_X - 1, BOARD_Y - 1,
                 BOARD_X + BOARD_WIDTH, BOARD_Y - 1, COLOR_BORDER);
    LCD_DrawLine(BOARD_X - 1, BOARD_Y + BOARD_HEIGHT,
                 BOARD_X + BOARD_WIDTH, BOARD_Y + BOARD_HEIGHT, COLOR_BORDER);
    LCD_DrawLine(BOARD_X - 1, BOARD_Y - 1,
                 BOARD_X - 1, BOARD_Y + BOARD_HEIGHT, COLOR_BORDER);
    LCD_DrawLine(BOARD_X + BOARD_WIDTH, BOARD_Y - 1,
                 BOARD_X + BOARD_WIDTH, BOARD_Y + BOARD_HEIGHT, COLOR_BORDER);
}

void DrawPiece(TetrisPiece piece, uint8_t rotation, int8_t boardRow,
		int8_t boardCol, uint16_t color) {
	rotation = (rotation + 4) & 0x03;
	for (int r = 0; r < 4; r++) {
		for (int c = 0; c < 4; c++) {
			if (TETROMINO[piece][rotation][r][c]) {
				DrawBlock3D(boardRow + r, boardCol + c, color);
			}
		}
	}
}
void TestPieces(void) {
	int row = 0;

	for (int p = 0; p < PIECE_COUNT; p++) {
		for (int r = 0; r < 4; r++) {
			DrawPiece3D((TetrisPiece) p, r, row, 0, 0x07E0   // green
					);
			row += 5;
		}
		row = 0;
		HAL_Delay(300);
		DrawBoard();
	}
}

int8_t GetSpawnOffsetY(uint8_t type, uint8_t rotation)
{
    for (int8_t r = 0; r < 4; r++) {
        for (int8_t c = 0; c < 4; c++) {
            if (TETROMINO[type][rotation][r][c]) {
                return -r;
            }
        }
    }
    return 0;
}
uint8_t SpawnPiece(void)
{
    active.type = nextPiece;
    active.rotation = SPAWN_ROT[active.type];
    active.row = GetSpawnOffsetY(active.type, active.rotation);
    active.col = (BOARD_COLS / 2) - 2;
    active.color = PIECE_COLOR[active.type];

    if (CheckCollision(active.row, active.col, active.rotation)) {
            return 0;
    }
    DrawActivePiece(active.color);
    nextPiece = GetNextPiece();
    DrawNextPiecePreview();
    return 1;
}

void DrawActivePiece(uint16_t color)
{
    for (uint8_t r = 0; r < 4; r++) {
        for (uint8_t c = 0; c < 4; c++) {
            if (TETROMINO[active.type][active.rotation][r][c]) {
                DrawBlock3D(active.row + r,
                          active.col + c,
                          color);
            }
        }
    }
}
void ClearActivePiece(void)
{
    for (uint8_t r = 0; r < 4; r++) {
        for (uint8_t c = 0; c < 4; c++) {

            if (!TETROMINO[active.type][active.rotation][r][c])
                continue;

            ClearBlock(active.row + r, active.col + c);
        }
    }
}

//void HAL_TIM_PeriodElapsedCallback(TIM_HandleTypeDef *htim)
//{
//    if (htim->Instance == TIM1)
//    {
//        gameTick++;
//    }
//}
void GameTick_Update(void)
{
	static uint32_t lastFall = 0;
	static uint32_t lastMoveLR = 0;
	static uint32_t holdStartLR = 0;
	static int8_t holdDir = 0;

	uint32_t now = HAL_GetTick();

    UpdateButtons();

    if (btn_a.pressed)
		RotatePieceCW();
	if (btn_b.pressed)
		RotatePieceCCW();

	if (btn_left.pressed) {
		MoveLeft();
		holdDir = -1;
		holdStartLR = now;
		lastMoveLR = now;
	} else if (btn_right.pressed) {
		MoveRight();
		holdDir = +1;
		holdStartLR = now;
		lastMoveLR = now;
	} else if (!btn_left.state && !btn_right.state) {
		holdDir = 0;
	}

	// Auto repeat after DAS
	if (holdDir != 0 && (now - holdStartLR) >= DAS_DELAY_MS) {
		if (now - lastMoveLR >= ARR_MS) {
			lastMoveLR = now;
			if (holdDir < 0)
				MoveLeft();
			else
				MoveRight();
		}
	}

	uint32_t fallInterval = btn_down.state ? softdrop_ms : gravity_ms;
	if (now - lastFall >= fallInterval) {
		lastFall = now;
		MoveDown();
	}

	if (IsGrounded() && lockStart == 0) {
	    lockStart = HAL_GetTick();
	    lockResets = 0;
	}
	if (lockStart && (HAL_GetTick() - lockStart) >= LOCK_DELAY_MS) {
	    LockPiece();
	    ClearLockDelay();
	    holdDir = 0;
	}
}

void MoveLeft(void)
{
    if (!CheckCollision(active.row, active.col - 1, active.rotation)) {
    	ClearActivePiece();
        active.col--;
        DrawActivePiece(active.color);
        ResetLockDelay();
    }
}
void MoveRight(void)
{
    if (!CheckCollision(active.row, active.col + 1, active.rotation)) {
    	ClearActivePiece();
        active.col++;
        DrawActivePiece(active.color);
        ResetLockDelay();
    }
}
uint8_t MoveDown(void)
{
    if (!CheckCollision(active.row + 1, active.col, active.rotation)) {
    	ClearActivePiece();
        active.row++;
        DrawActivePiece(active.color);

        if (btn_down.state) {
            softdrop_score += 1;
        }

        ClearLockDelay();
        return 1;
    }

    if (lockStart == 0) {
        lockStart = HAL_GetTick();
        lockResets = 0;
    }

    return 0;
}
void RotatePieceCW(void)
{
    uint8_t next = (active.rotation + 1) & 0x03;

    const int8_t kicks[][2] = {
        { 0,  0},
        { 1,  0},
        {-1,  0},
        { 2,  0},
        {-2,  0},
        { 0,  1},
        { 0, -1},
    };

    for (uint8_t i = 0; i < sizeof(kicks)/sizeof(kicks[0]); i++) {

        int8_t nr = active.row + kicks[i][1];
        int8_t nc = active.col + kicks[i][0];

        if (CheckCollision(nr, nc, next))
            continue;

        ClearActivePiece();
        active.row = nr;
        active.col = nc;
        active.rotation = next;
        DrawActivePiece(active.color);

        ResetLockDelay();
        return;
    }
}
void RotatePieceCCW(void)
{
    uint8_t next = (active.rotation + 3) & 0x03;

    const int8_t kicks[][2] = {
        { 0,  0},
        { 1,  0},
        {-1,  0},
        { 2,  0},
        {-2,  0},
        { 0,  1},
        { 0, -1},
    };

    for (uint8_t i = 0; i < sizeof(kicks)/sizeof(kicks[0]); i++) {

        int8_t nr = active.row + kicks[i][1];
        int8_t nc = active.col + kicks[i][0];

        if (CheckCollision(nr, nc, next))
            continue;

        ClearActivePiece();
        active.row = nr;
        active.col = nc;
        active.rotation = next;
        DrawActivePiece(active.color);

        ResetLockDelay();
        return;
    }
}

uint8_t CheckCollision(int8_t row, int8_t col, uint8_t rotation)
{
    for (uint8_t r = 0; r < 4; r++) {
        for (uint8_t c = 0; c < 4; c++) {

            if (!TETROMINO[active.type][rotation][r][c])
                continue;

            int br = row + r;
            int bc = col + c;

            // Out of bounds
            if (bc < 0 || bc >= BOARD_COLS ||
                br < 0 || br >= BOARD_ROWS)
                return 1;

            // Hit existing block
            if (board[br][bc] != 0)
                return 1;
        }
    }
    return 0;
}
uint8_t IsGrounded(void)
{
    return CheckCollision(active.row + 1, active.col, active.rotation);
}
uint8_t IsGroundedAt(int8_t row, int8_t col, uint8_t rotation)
{
    return CheckCollision(row + 1, col, rotation);
}

void LockPiece(void)
{
    for (uint8_t r = 0; r < 4; r++) {
        for (uint8_t c = 0; c < 4; c++) {

            if (TETROMINO[active.type][active.rotation][r][c]) {

                int br = active.row + r;
                int bc = active.col + c;

                if (br >= 0 && br < BOARD_ROWS &&
                    bc >= 0 && bc < BOARD_COLS) {
                    board[br][bc] = active.color;
                }
            }
        }
    }

    uint8_t cleared = ClearLines();

    if (cleared > 0) {
        AddScore(cleared);
        UpdateLevel();
    }

    ClearLockDelay();

    if (!SpawnPiece()) {
        gameState = STATE_GAMEOVER;
    }
}
void ResetLockDelay(void)
{
	if (IsGrounded())
		return;

	if (lockResets >= LOCK_RESET_LIMIT)
		return;

	lockStart = 0;
	lockResets++;
}
void ClearLockDelay(void)
{
    lockStart = 0;
    lockResets = 0;
}

uint8_t ClearLines(void)
{
    uint8_t linesCleared = 0;

    for (int r = BOARD_ROWS - 1; r >= 0; r--) {

        uint8_t full = 1;
        for (int c = 0; c < BOARD_COLS; c++) {
            if (board[r][c] == 0) {
                full = 0;
                break;
            }
        }

        if (full) {
            RemoveLine(r);
            linesCleared++;
            r++;
        }
    }

    if (linesCleared > 0) {
        RedrawBoardFromArray();
    }

    return linesCleared;
}
void RemoveLine(int row)
{
    for (int r = row; r > 0; r--) {
        for (int c = 0; c < BOARD_COLS; c++) {
            board[r][c] = board[r - 1][c];
        }
    }

    for (int c = 0; c < BOARD_COLS; c++) {
        board[0][c] = 0;
    }
}
void RedrawBoardFromArray(void)
{
    for (int r = 0; r < BOARD_ROWS; r++) {
        for (int c = 0; c < BOARD_COLS; c++) {
			if (board[r][c]) {
				DrawBlock3D(r, c, board[r][c]);
			} else {
				ClearBlock(r, c);
			}
        }
    }
}

void ShuffleBag(void)
{
    for (uint8_t i = 0; i < PIECE_COUNT; i++)
        pieceBag[i] = i;

    // Fisher–Yates
    for (uint8_t i = PIECE_COUNT - 1; i > 0; i--) {
        uint8_t j = rand() % (i + 1);
        uint8_t t = pieceBag[i];
        pieceBag[i] = pieceBag[j];
        pieceBag[j] = t;
    }

    bagIndex = 0;
}
uint8_t GetNextPiece(void)
{
    if (bagIndex >= PIECE_COUNT) {
        ShuffleBag();
    }

    return pieceBag[bagIndex++];
}
void DrawNextPiecePreview(void)
{
    // Clear
    LCD_Fill(PREVIEW_X - 2,
             PREVIEW_Y - 2,
             PREVIEW_X + PREVIEW_BLOCK * 4 + 2,
             PREVIEW_Y + PREVIEW_BLOCK * 4 + 2,
             COLOR_BG);

    // Border
    LCD_DrawLine(PREVIEW_X - 2, PREVIEW_Y - 2,
                 PREVIEW_X + PREVIEW_BLOCK * 4 + 2, PREVIEW_Y - 2, COLOR_BORDER);
    LCD_DrawLine(PREVIEW_X - 2, PREVIEW_Y + PREVIEW_BLOCK * 4 + 2,
                 PREVIEW_X + PREVIEW_BLOCK * 4 + 2, PREVIEW_Y + PREVIEW_BLOCK * 4 + 2, COLOR_BORDER);
    LCD_DrawLine(PREVIEW_X - 2, PREVIEW_Y - 2,
                 PREVIEW_X - 2, PREVIEW_Y + PREVIEW_BLOCK * 4 + 2, COLOR_BORDER);
    LCD_DrawLine(PREVIEW_X + PREVIEW_BLOCK * 4 + 2, PREVIEW_Y - 2,
                 PREVIEW_X + PREVIEW_BLOCK * 4 + 2, PREVIEW_Y + PREVIEW_BLOCK * 4 + 2, COLOR_BORDER);

	DrawPiece(nextPiece, 0, PREVIEW_BOARD_ROW, PREVIEW_BOARD_COL,
			PIECE_COLOR[nextPiece]);
}

void AddScore(uint8_t lines)
{

    if (lines <= 4) {
        score += LINE_SCORE[lines] * level;
        score += softdrop_score;
        softdrop_score = 0;
    }

    totalLines += lines;
}
void UpdateLevel(void)
{
    uint16_t newLevel = menuLevel + (totalLines / 10);

    if (newLevel != level) {
        level = newLevel;
        UpdateGravity();
    }
}
void UpdateGravity(void)
{
    if (level == 0)          gravity_ms = 800;
    else if (level == 1)     gravity_ms = 717;
    else if (level == 2)     gravity_ms = 633;
    else if (level == 3)     gravity_ms = 550;
    else if (level == 4)     gravity_ms = 467;
    else if (level == 5)     gravity_ms = 383;
    else if (level == 6)     gravity_ms = 300;
    else if (level == 7)     gravity_ms = 217;
    else if (level == 8)     gravity_ms = 133;
    else if (level == 9)     gravity_ms = 100;
	else if (level <= 12) {
		gravity_ms = 83;
		softdrop_ms = 42;
	} else if (level <= 15) {
		gravity_ms = 67;
		softdrop_ms = 34;
	} else if (level <= 18) {
		gravity_ms = 50;
		softdrop_ms = 25;
	} else if (level <= 28) {
		gravity_ms = 33;
		softdrop_ms = 17;
	} else {
		gravity_ms = 17;
		softdrop_ms = 9;
	}
}

void DrawHUD(void)
{
    LCD_PutStr(UI_X, UI_Y + 0,   "SCORE", &FONT_12X20, COLOR_TEXT, COLOR_BG);
    LCD_PutStr(UI_X, UI_Y + 60,  "LINES", &FONT_12X20, COLOR_TEXT, COLOR_BG);
    LCD_PutStr(UI_X, UI_Y + 120,  "LEVEL", &FONT_12X20, COLOR_TEXT, COLOR_BG);
}
void UpdateHUD(void)
{
    char buf[16];

    if (score != lastScore) {
        sprintf(buf, "%lu   ", score);
        LCD_PutStr(UI_X, UI_Y + 25, buf, &FONT_8X12, COLOR_TEXT, COLOR_BG);
        lastScore = score;
    }

    if (totalLines != lastLines) {
        sprintf(buf, "%u   ", totalLines);
        LCD_PutStr(UI_X, UI_Y + 85, buf, &FONT_8X12, COLOR_TEXT, COLOR_BG);
        lastLines = totalLines;
    }

    if (level != lastLevel) {
        sprintf(buf, "%u   ", level);
        LCD_PutStr(UI_X, UI_Y + 145, buf, &FONT_8X12, COLOR_TEXT, COLOR_BG);
        lastLevel = level;
    }
}
/* USER CODE END 4 */

void Error_Handler(void)
{
  __disable_irq();
  while (1)
  {
  }
}
